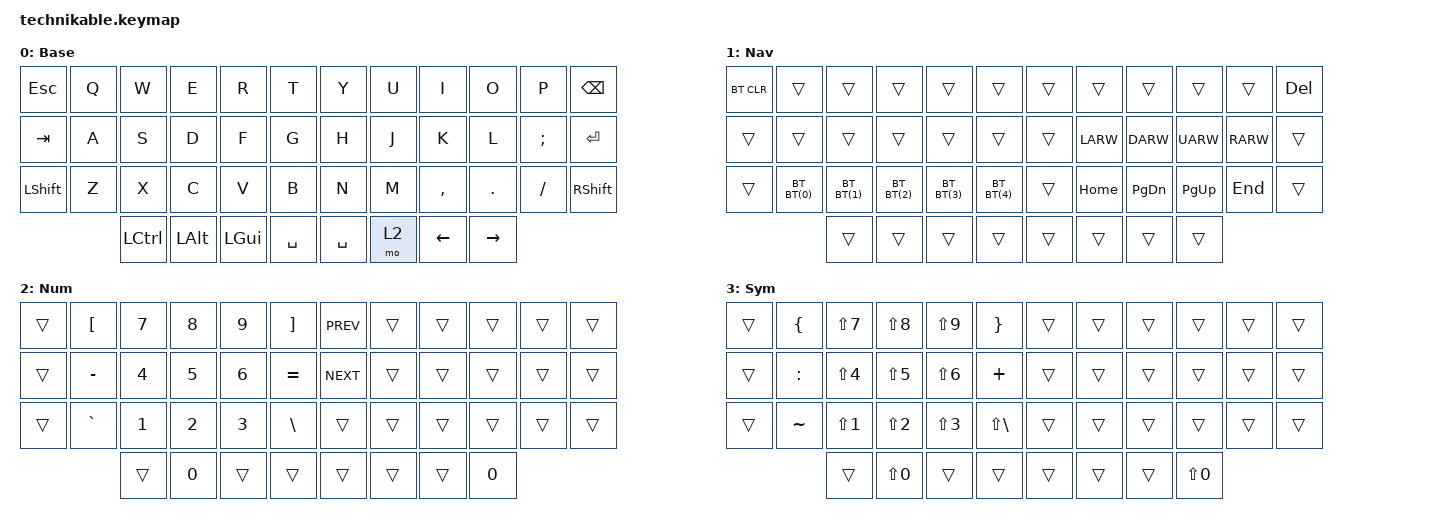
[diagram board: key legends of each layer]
/*
 * Copyright (c) 2022 Pete Johanson
 *
 * SPDX-License-Identifier: MIT
 */

#include <behaviors.dtsi>
#include <dt-bindings/zmk/keys.h>
#include <dt-bindings/zmk/bt.h>

#define QWERTY_BASE 1
#define TBLE_ORTHO   true// #define TBLE_MIT     true// #define TBLE_DUAL_2U true
#define BAS_L 0
#define NAV_L 1
#define NUM_L 2
#define SYM_L 3// Using layer taps on thumbs, having quick tap as well helps w/ repeating space/backspace

&lt {
    quick_tap_ms = <200>;
};

#define BT(n) BT_SEL n





/ {
    chosen {
        zmk,matrix_transform =
            #ifdef TBLE_DUAL_2U,,
            &dual_2u_transform;

        #elif

        defined(TBLE_MIT)
                       &mit_transform;
#

        else

        &ortho_transform;
#endif
    };

    conditional_layers {
        compatible = "zmk,conditional-layers";

        tri_layer {
            if-layers = <NAV_L NUM_L>;
            then-layer = <SYM_L>;
        };
    };

    keymap {
        compatible = "zmk,keymap";

        Base {
            label = "Base";
            // ------------------------------------------------------------------------------------------
            // |  TAB  |  Q   |  W   |  E   |  R   |  T   |   Y   |  U    |  I   |  O   |   P   | BSPC  |
            // | SHIFT |  A   |  S   |  D   |  F   |  G   |   H   |  J    |  K   |  L   |   ;   | ENTER |
            // | CTRL  |  Z   |  X   |  C   |  V   |  B   |   N   |  M    |  ,   |  .   |   /   | SHIFT |
            // |       |      | LCTL | LALT | LGUI | SPACE| SPACE |  RAIS | LARW | RARW |       |       |

            bindings = <
                &kp ESC     &kp Q  &kp W        &kp E       &kp R       &kp T       &kp Y       &kp U   &kp I       &kp O       &kp P       &kp BACKSPACE
                &kp TAB     &kp A  &kp S        &kp D       &kp F       &kp G       &kp H       &kp J   &kp K       &kp L       &kp SEMI    &kp ENTER
                &kp LSHFT   &kp Z  &kp X        &kp C       &kp V       &kp B       &kp N       &kp M   &kp COMMA   &kp DOT     &kp FSLH    &kp RIGHT_SHIFT
                                   &kp LCTRL    &kp LALT    &kp LGUI    &kp SPACE   &kp SPACE   &mo 2   &kp LEFT    &kp RIGHT
            >;
        };

        Nav {
            label = "Nav";
            // -------------------------------------------------------------------------------------------
            // |   ~   |  !   |  @   |  #   |  $   |  %   |   ^   |   &   |  *   |  (   |   )   |  DEL  |
            // |       |  F1  |  F2  |  F3  |  F4  |  F5  |   F6  |   _   |  +   |  {   |   }   |   |   |
            // |       |  F7  |  F8  |  F9  |  F10 |  F11 |   F12 | LS(#) |LS(|) |      |       |       |
            // |       |      |      |      |      |      |       |       | NEXT | Vol- | Vol+ | PLAY   |
            bindings = <
 &bt BT_CLR     &trans     &trans     &trans     &trans     &trans  &trans    &trans     &trans     &trans    &trans  &kp DEL
     &trans     &trans     &trans     &trans     &trans     &trans  &trans  &kp LARW   &kp DARW   &kp UARW  &kp RARW   &trans
     &trans  &bt BT(0)  &bt BT(1)  &bt BT(2)  &bt BT(3)  &bt BT(4)  &trans  &kp HOME  &kp PG_DN  &kp PG_UP   &kp END   &trans
                           &trans     &trans     &trans     &trans  &trans    &trans     &trans     &trans
            >;
        };

        Num {
            label = "Num";
            // ------------------------------------------------------------------------------------------
            // |   ~   |  1   |  2   |  3   |  4   |  5   |  6    |   7   |  8   |  9   |   0   |  DEL  |
            // |  DEL  |  F1  |  F2  |  F3  |  F4  |  F5  |  F6   |   -   |  =   |  [   |   ]   |   \   |
            // |       |  F7  |  F8  |  F9  |  F10 |  F11 |  F12  |   #   |  |   |      |       |       |
            // |       |      |      |      |      |      |       |       |       |      |      |       |
            bindings = <
 &trans   &kp LBKT  &kp N7  &kp N8  &kp N9   &kp RBKT  &kp C_PREV  &trans  &trans  &trans  &trans  &trans
 &trans  &kp MINUS  &kp N4  &kp N5  &kp N6  &kp EQUAL  &kp C_NEXT  &trans  &trans  &trans  &trans  &trans
 &trans  &kp GRAVE  &kp N1  &kp N2  &kp N3   &kp BSLH      &trans  &trans  &trans  &trans  &trans  &trans
                    &trans  &kp N0  &trans     &trans      &trans  &trans  &trans  &kp N0
            >;
        };

        Sym {
            label = "Sym";
            // ------------------------------------------------------------------------------------------
            // |      |  NA  |  NA  |  NA  |  NA  |  NA  |  NA  |  NA  |  NA  |  NA  |  NA  |LALT(PRTSN)|
            // |      |  NA  |  NA  |  NA  |  NA  |  NA  |  NA  |  NA  |  NA  |  NA  |  NA  |   PRTSN   |
            // |      |  NA  |  NA  |  NA  |  NA  |  NA  |  NA  |  NA  |  NA  |  NA  |  NA  |LCTRL(DEL) |
            // |      |      |      |      |      |BOOTLD|BOOTLD|      |      |      |      |           |
            bindings = <
 &trans   &kp LBRC  &kp LS(N7)  &kp LS(N8)  &kp LS(N9)      &kp RBRC  &trans  &trans  &trans      &trans  &trans  &trans
 &trans  &kp COLON  &kp LS(N4)  &kp LS(N5)  &kp LS(N6)      &kp PLUS  &trans  &trans  &trans      &trans  &trans  &trans
 &trans  &kp TILDE  &kp LS(N1)  &kp LS(N2)  &kp LS(N3)  &kp LS(BSLH)  &trans  &trans  &trans      &trans  &trans  &trans
                        &trans  &kp LS(N0)      &trans        &trans  &trans  &trans  &trans  &kp LS(N0)
            >;
        };
    };
};
